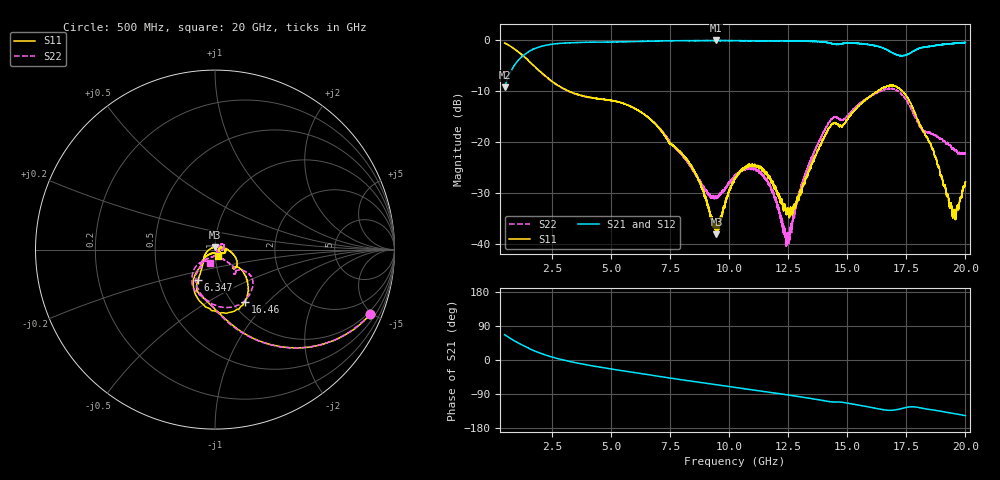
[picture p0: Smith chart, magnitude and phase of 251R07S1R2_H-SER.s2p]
!{201R07S1R2}
!Johanson Technology Inc.
!www.johansontechnology.com
!Test Board Conditions:
!Substrate Type  RO4350B
!Substrate Thickness  10 mil
!Substrate Dk  3.66
!TL Type: GCPW
!TL Trace Width  21 mil
!TL Gap  20 mil
!Electrode orientation  Horizontal
!DUT TOPOLOGY	SERIES
!Mounting Pad LxW  16x21 mil
!Agilent Technologies,N5230A,MY45001966,A.07.50.67
!Agilent N5230A: A.07.50.67
! Created Mon Mar  9 16:22:07 2020
# mhz S ma R 50
! 2 Port Network Data from SP1.SP block
! freq  magS11  angS11  magS21  angS21  magS12  angS12  magS22  angS22
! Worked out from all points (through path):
!   19501 points, 500 MHz to 20 GHz, reference 50 ohm
!   highest |S21| = -0.06 dB at 9.448 GHz (marker M1); lowest = -9.3 dB at 500 MHz (marker M2)
!   group delay of S21, straight-line fit = 26 ps
!   lowest |S11| = -38.0 dB at 9.464 GHz (marker M3), VSWR 1.03, Z = 49.8 + j1.24 ohm
!   |S11| at or under -10 dB: 3.213625 GHz to 3.2145 GHz (875 kHz wide, 0.0272 % of centre); 3.215 GHz to 16.29 GHz (13.07 GHz wide, 134 % of centre); 17.33 GHz to end of sweep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
!   |S22| runs from -40.4 to -0.6 dB; largest |S21 - S12| = 0.017
!   S11 on the Smith chart (normalised r, x): 500 MHz: 0.83, -4.85; 6.347 GHz: 0.79, -0.27; 16.46 GHz: 1.14, -0.75; 20 GHz: 1.03, -0.08
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500  0.9366 -22.7  0.3435 66.9  0.3446 67.0  0.9353 -22.5
1145  0.746 -46.9  0.6591 42.6  0.6584 42.5  0.7449 -47.1
1977  0.4997 -70.2  0.8576 18.8  0.86 18.7  0.4943 -71.1
3750  0.2866 -100.3  0.9498 -10.2  0.9495 -10.2  0.2844 -99.7
6347  0.1911 -119.3  0.9727 -36.5  0.9727 -36.5  0.1918 -131.2
7000  0.1407 -123.5  0.9812 -42.8  0.9817 -42.9  0.1413 -138.7
8461  0.05528 -158.1  0.9874 -56.4  0.9889 -56.5  0.05353 -121.8
9448  0.01318 104.6  0.9928 -65.2  0.9905 -65.3  0.02862 -46.0
9464  0.01252 96.9  0.9906 -65.4  0.9887 -65.5  0.02845 -45.5
10250  0.04505 14.1  0.988 -72.3  0.9874 -72.3  0.04736 7.7
11414  0.05416 -21.1  0.9851 -82.7  0.9854 -82.5  0.0478 38.7
11913  0.036 -28.8  0.9846 -87.0  0.9858 -87.1  0.02865 45.0
12472  0.01979 -16.1  0.9851 -92.0  0.9866 -92.2  0.01279 -11.9
12753  0.02409 9.0  0.9817 -94.6  0.9813 -94.8  0.0188 -49.6
13500  0.06083 4.8  0.976 -102.2  0.9753 -102.1  0.07009 -49.5
14352  0.1496 -34.2  0.9243 -110.5  0.9278 -110.8  0.1698 -46.6
16462  0.3372 -59.9  0.8457 -130.6  0.8376 -130.3  0.3187 -54.1
16750  0.3554 -70.5  0.7896 -132.5  0.7791 -132.5  0.3362 -66.2
17657  0.2479 -118.8  0.7471 -123.6  0.7475 -123.5  0.2237 -117.5
18159  0.1355 -130.5  0.8465 -127.1  0.8447 -127.3  0.1341 -129.3
19512  0.02128 -107.6  0.9276 -141.3  0.9316 -141.1  0.08514 -130.8
20000  0.04098 -63.9  0.9454 -146.8  0.9463 -146.7  0.07863 -112.9
